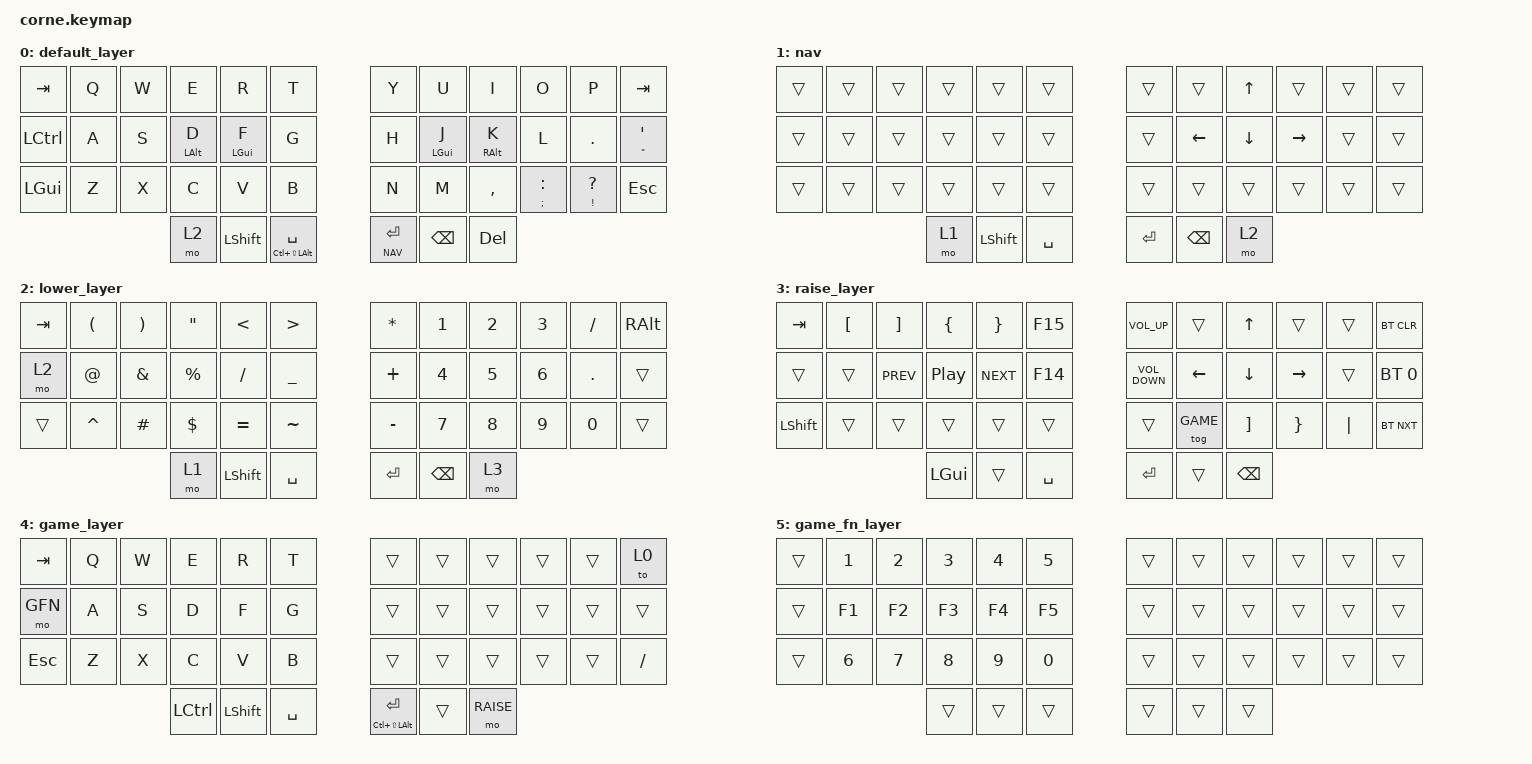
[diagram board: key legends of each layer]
/*
 * Copyright (c) 2020 The ZMK Contributors
 *
 * SPDX-License-Identifier: MIT
 */

#include <behaviors.dtsi>
#include <dt-bindings/zmk/bt.h>
#include <dt-bindings/zmk/keys.h>

#define NAV 1
#define RAISE 3
#define GAME 4
#define GFN 5

&mt {
    flavor = "tap-preferred";
    tapping_term_ms = <200>;
};

/ {
    behaviors {
        th_tap: homerow_mods {
            compatible = "zmk,behavior-hold-tap";
            label = "Home Row Mods";
            #binding-cells = <2>;
            tapping-term-ms = <200>;
            quick-tap-ms = <0>;
            flavor = "tap-preferred";
            bindings = <&kp>, <&kp>;
        };

        gqt: global-quick-tap {
            compatible = "zmk,behavior-hold-tap";
            label = "GLOBAL_QUICK_TAP";
            #binding-cells = <2>;
            flavor = "tap-preferred";
            tapping-term-ms = <200>;
            quick-tap-ms = <125>;
            global-quick-tap;
            bindings = <&kp>, <&kp>;
        };
    };

    keymap {
        compatible = "zmk,keymap";

        default_layer {
            bindings = <
&kp TAB    &kp Q  &kp W  &kp E           &kp R           &kp T                      &kp Y        &kp U           &kp I           &kp O               &kp P               &kp TAB
&kp LCTRL  &kp A  &kp S  &th_tap LALT D  &th_tap LGUI F  &kp G                      &kp H        &th_tap LGUI J  &th_tap RALT K  &kp L               &kp DOT             &th_tap DQT SQT
&kp LGUI   &kp Z  &kp X  &kp C           &kp V           &kp B                      &kp N        &kp M           &kp COMMA       &th_tap SEMI COLON  &th_tap EXCL QMARK  &kp ESC
                         &mo 2           &kp LSHIFT      &gqt LC(LS(LALT)) SPACE    &lt NAV RET  &kp BSPC        &kp DEL
            >;
        };

        nav {
            bindings = <
&trans  &trans  &trans  &trans  &trans      &trans       &trans   &trans    &kp UP    &trans     &trans  &trans
&trans  &trans  &trans  &trans  &trans      &trans       &trans   &kp LEFT  &kp DOWN  &kp RIGHT  &trans  &trans
&trans  &trans  &trans  &trans  &trans      &trans       &trans   &trans    &trans    &trans     &trans  &trans
                        &mo 1   &kp LSHIFT  &kp SPACE    &kp RET  &kp BSPC  &mo 2
            >;
        };

        lower_layer {
            bindings = <
&kp TAB  &kp LPAR   &kp RPAR  &kp DQT    &kp LESS_THAN  &kp GREATER_THAN    &kp STAR   &kp N1    &kp N2  &kp N3  &kp FSLH  &kp RALT
&mo 2    &kp AT     &kp AMPS  &kp PRCNT  &kp FSLH       &kp UNDER           &kp PLUS   &kp N4    &kp N5  &kp N6  &kp DOT   &trans
&trans   &kp CARET  &kp HASH  &kp DLLR   &kp EQUAL      &kp TILDE           &kp MINUS  &kp N7    &kp N8  &kp N9  &kp N0    &trans
                              &mo 1      &kp LSHIFT     &kp SPACE           &kp RET    &kp BSPC  &mo 3
            >;
        };

        raise_layer {
            /* M position (bottom row, right index): toggle the WoW game layer */
            bindings = <
&kp TAB    &kp LBKT  &kp RBKT    &kp LBRC          &kp RBRC    &kp F15      &kp C_VOLUME_UP    &trans    &kp UP    &trans     &trans    &bt BT_CLR
&trans     &trans    &kp C_PREV  &kp C_PLAY_PAUSE  &kp C_NEXT  &kp F14      &kp C_VOLUME_DOWN  &kp LEFT  &kp DOWN  &kp RIGHT  &trans    &bt BT_SEL 0
&kp LSHFT  &trans    &trans      &trans            &trans      &trans       &trans             &tog GAME &kp RBKT  &kp RBRC   &kp PIPE  &bt BT_NXT
                                 &kp LGUI          &trans      &kp SPACE    &kp RET            &trans    &kp BSPC
            >;
        };

        game_layer {
            /* WoW: plain keys on the left half (no home-row mods); movement is bound to ESDF in-game.
             * Left thumbs: Ctrl, Shift, Space. Hold the outer pinky key for numbers and F-keys.
             * Right half types normally, with / on the bottom-right outer key for chat commands.
             * Right inner thumb: tap Enter, hold Meh (Ctrl+Shift+Alt) for AeroSpace workspaces.
             * Right outer thumb = Raise, so Raise + M (toggle) also switches game mode off.
             * Top-right corner key: leave game mode in one press (back to the base layer). */
            bindings = <
&kp TAB  &kp Q  &kp W  &kp E      &kp R       &kp T        &trans  &trans  &trans  &trans  &trans  &to 0
&mo GFN  &kp A  &kp S  &kp D      &kp F       &kp G        &trans  &trans  &trans  &trans  &trans  &trans
&kp ESC  &kp Z  &kp X  &kp C      &kp V       &kp B        &trans  &trans  &trans  &trans  &trans  &kp FSLH
                       &kp LCTRL  &kp LSHIFT  &kp SPACE    &gqt LC(LS(LALT)) RET  &trans  &mo RAISE
            >;
        };

        game_fn_layer {
            /* Held from the game layer: top row 1-5, home row F1-F5, bottom row 6-0 */
            bindings = <
&trans  &kp N1  &kp N2  &kp N3  &kp N4  &kp N5    &trans  &trans  &trans  &trans  &trans  &trans
&trans  &kp F1  &kp F2  &kp F3  &kp F4  &kp F5    &trans  &trans  &trans  &trans  &trans  &trans
&trans  &kp N6  &kp N7  &kp N8  &kp N9  &kp N0    &trans  &trans  &trans  &trans  &trans  &trans
                        &trans  &trans  &trans    &trans  &trans  &trans
            >;
        };
    };
};
